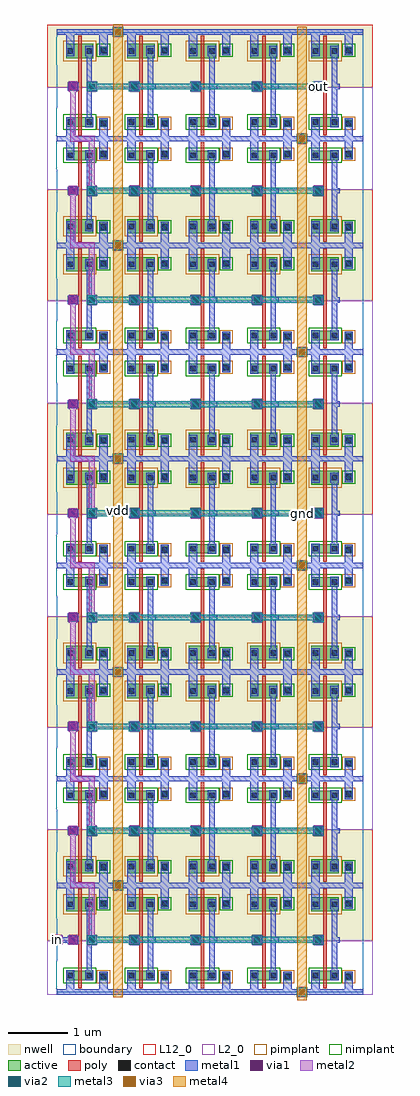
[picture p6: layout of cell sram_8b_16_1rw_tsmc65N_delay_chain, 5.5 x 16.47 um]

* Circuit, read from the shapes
.subckt sram_8b_16_1rw_tsmc65N_delay_chain gnd in out vdd
M1 sram_8b_16_1rw_tsmc65N_pinv_11_1/A in gnd gnd nfet w=0.16u l=0.06u
M2 sram_8b_16_1rw_tsmc65N_pinv_11_10/A sram_8b_16_1rw_tsmc65N_pinv_11_1/A gnd gnd nfet w=0.16u l=0.06u
M3 sram_8b_16_1rw_tsmc65N_pinv_11_11/A sram_8b_16_1rw_tsmc65N_pinv_11_10/A gnd gnd nfet w=0.16u l=0.06u
M4 sram_8b_16_1rw_tsmc65N_pinv_11_16/A sram_8b_16_1rw_tsmc65N_pinv_11_11/A gnd gnd nfet w=0.16u l=0.06u
M5 sram_8b_16_1rw_tsmc65N_pinv_11_21/A sram_8b_16_1rw_tsmc65N_pinv_11_16/A gnd gnd nfet w=0.16u l=0.06u
M6 sram_8b_16_1rw_tsmc65N_pinv_11_26/A sram_8b_16_1rw_tsmc65N_pinv_11_21/A gnd gnd nfet w=0.16u l=0.06u
M7 sram_8b_16_1rw_tsmc65N_pinv_11_31/A sram_8b_16_1rw_tsmc65N_pinv_11_26/A gnd gnd nfet w=0.16u l=0.06u
M8 sram_8b_16_1rw_tsmc65N_pinv_11_36/A sram_8b_16_1rw_tsmc65N_pinv_11_31/A gnd gnd nfet w=0.16u l=0.06u
M9 out sram_8b_16_1rw_tsmc65N_pinv_11_36/A gnd gnd nfet w=0.16u l=0.06u
M10 sram_8b_16_1rw_tsmc65N_pinv_11_1/Z sram_8b_16_1rw_tsmc65N_pinv_11_1/A gnd gnd nfet w=0.16u l=0.06u
M11 sram_8b_16_1rw_tsmc65N_pinv_11_6/Z sram_8b_16_1rw_tsmc65N_pinv_11_10/A gnd gnd nfet w=0.16u l=0.06u
M12 sram_8b_16_1rw_tsmc65N_pinv_11_11/Z sram_8b_16_1rw_tsmc65N_pinv_11_11/A gnd gnd nfet w=0.16u l=0.06u
M13 sram_8b_16_1rw_tsmc65N_pinv_11_16/Z sram_8b_16_1rw_tsmc65N_pinv_11_16/A gnd gnd nfet w=0.16u l=0.06u
M14 sram_8b_16_1rw_tsmc65N_pinv_11_21/Z sram_8b_16_1rw_tsmc65N_pinv_11_21/A gnd gnd nfet w=0.16u l=0.06u
M15 sram_8b_16_1rw_tsmc65N_pinv_11_26/Z sram_8b_16_1rw_tsmc65N_pinv_11_26/A gnd gnd nfet w=0.16u l=0.06u
M16 sram_8b_16_1rw_tsmc65N_pinv_11_31/Z sram_8b_16_1rw_tsmc65N_pinv_11_31/A gnd gnd nfet w=0.16u l=0.06u
M17 sram_8b_16_1rw_tsmc65N_pinv_11_36/Z sram_8b_16_1rw_tsmc65N_pinv_11_36/A gnd gnd nfet w=0.16u l=0.06u
M18 sram_8b_16_1rw_tsmc65N_pinv_11_41/Z out gnd gnd nfet w=0.16u l=0.06u
M19 sram_8b_16_1rw_tsmc65N_pinv_11_2/Z sram_8b_16_1rw_tsmc65N_pinv_11_1/A gnd gnd nfet w=0.16u l=0.06u
M20 sram_8b_16_1rw_tsmc65N_pinv_11_7/Z sram_8b_16_1rw_tsmc65N_pinv_11_10/A gnd gnd nfet w=0.16u l=0.06u
M21 sram_8b_16_1rw_tsmc65N_pinv_11_12/Z sram_8b_16_1rw_tsmc65N_pinv_11_11/A gnd gnd nfet w=0.16u l=0.06u
M22 sram_8b_16_1rw_tsmc65N_pinv_11_17/Z sram_8b_16_1rw_tsmc65N_pinv_11_16/A gnd gnd nfet w=0.16u l=0.06u
M23 sram_8b_16_1rw_tsmc65N_pinv_11_22/Z sram_8b_16_1rw_tsmc65N_pinv_11_21/A gnd gnd nfet w=0.16u l=0.06u
M24 sram_8b_16_1rw_tsmc65N_pinv_11_27/Z sram_8b_16_1rw_tsmc65N_pinv_11_26/A gnd gnd nfet w=0.16u l=0.06u
M25 sram_8b_16_1rw_tsmc65N_pinv_11_32/Z sram_8b_16_1rw_tsmc65N_pinv_11_31/A gnd gnd nfet w=0.16u l=0.06u
M26 sram_8b_16_1rw_tsmc65N_pinv_11_37/Z sram_8b_16_1rw_tsmc65N_pinv_11_36/A gnd gnd nfet w=0.16u l=0.06u
M27 sram_8b_16_1rw_tsmc65N_pinv_11_42/Z out gnd gnd nfet w=0.16u l=0.06u
M28 sram_8b_16_1rw_tsmc65N_pinv_11_3/Z sram_8b_16_1rw_tsmc65N_pinv_11_1/A gnd gnd nfet w=0.16u l=0.06u
M29 sram_8b_16_1rw_tsmc65N_pinv_11_8/Z sram_8b_16_1rw_tsmc65N_pinv_11_10/A gnd gnd nfet w=0.16u l=0.06u
M30 sram_8b_16_1rw_tsmc65N_pinv_11_13/Z sram_8b_16_1rw_tsmc65N_pinv_11_11/A gnd gnd nfet w=0.16u l=0.06u
M31 sram_8b_16_1rw_tsmc65N_pinv_11_18/Z sram_8b_16_1rw_tsmc65N_pinv_11_16/A gnd gnd nfet w=0.16u l=0.06u
M32 sram_8b_16_1rw_tsmc65N_pinv_11_23/Z sram_8b_16_1rw_tsmc65N_pinv_11_21/A gnd gnd nfet w=0.16u l=0.06u
M33 sram_8b_16_1rw_tsmc65N_pinv_11_28/Z sram_8b_16_1rw_tsmc65N_pinv_11_26/A gnd gnd nfet w=0.16u l=0.06u
M34 sram_8b_16_1rw_tsmc65N_pinv_11_33/Z sram_8b_16_1rw_tsmc65N_pinv_11_31/A gnd gnd nfet w=0.16u l=0.06u
M35 sram_8b_16_1rw_tsmc65N_pinv_11_38/Z sram_8b_16_1rw_tsmc65N_pinv_11_36/A gnd gnd nfet w=0.16u l=0.06u
M36 sram_8b_16_1rw_tsmc65N_pinv_11_43/Z out gnd gnd nfet w=0.16u l=0.06u
M37 sram_8b_16_1rw_tsmc65N_pinv_11_4/Z sram_8b_16_1rw_tsmc65N_pinv_11_1/A gnd gnd nfet w=0.16u l=0.06u
M38 sram_8b_16_1rw_tsmc65N_pinv_11_9/Z sram_8b_16_1rw_tsmc65N_pinv_11_10/A gnd gnd nfet w=0.16u l=0.06u
M39 sram_8b_16_1rw_tsmc65N_pinv_11_14/Z sram_8b_16_1rw_tsmc65N_pinv_11_11/A gnd gnd nfet w=0.16u l=0.06u
M40 sram_8b_16_1rw_tsmc65N_pinv_11_19/Z sram_8b_16_1rw_tsmc65N_pinv_11_16/A gnd gnd nfet w=0.16u l=0.06u
M41 sram_8b_16_1rw_tsmc65N_pinv_11_24/Z sram_8b_16_1rw_tsmc65N_pinv_11_21/A gnd gnd nfet w=0.16u l=0.06u
M42 sram_8b_16_1rw_tsmc65N_pinv_11_29/Z sram_8b_16_1rw_tsmc65N_pinv_11_26/A gnd gnd nfet w=0.16u l=0.06u
M43 sram_8b_16_1rw_tsmc65N_pinv_11_34/Z sram_8b_16_1rw_tsmc65N_pinv_11_31/A gnd gnd nfet w=0.16u l=0.06u
M44 sram_8b_16_1rw_tsmc65N_pinv_11_39/Z sram_8b_16_1rw_tsmc65N_pinv_11_36/A gnd gnd nfet w=0.16u l=0.06u
M45 sram_8b_16_1rw_tsmc65N_pinv_11_44/Z out gnd gnd nfet w=0.16u l=0.06u
M46 sram_8b_16_1rw_tsmc65N_pinv_11_1/A in vdd vdd pfet w=0.24u l=0.06u
M47 sram_8b_16_1rw_tsmc65N_pinv_11_10/A sram_8b_16_1rw_tsmc65N_pinv_11_1/A vdd vdd pfet w=0.24u l=0.06u
M48 sram_8b_16_1rw_tsmc65N_pinv_11_11/A sram_8b_16_1rw_tsmc65N_pinv_11_10/A vdd vdd pfet w=0.24u l=0.06u
M49 sram_8b_16_1rw_tsmc65N_pinv_11_16/A sram_8b_16_1rw_tsmc65N_pinv_11_11/A vdd vdd pfet w=0.24u l=0.06u
M50 sram_8b_16_1rw_tsmc65N_pinv_11_21/A sram_8b_16_1rw_tsmc65N_pinv_11_16/A vdd vdd pfet w=0.24u l=0.06u
M51 sram_8b_16_1rw_tsmc65N_pinv_11_26/A sram_8b_16_1rw_tsmc65N_pinv_11_21/A vdd vdd pfet w=0.24u l=0.06u
M52 sram_8b_16_1rw_tsmc65N_pinv_11_31/A sram_8b_16_1rw_tsmc65N_pinv_11_26/A vdd vdd pfet w=0.24u l=0.06u
M53 sram_8b_16_1rw_tsmc65N_pinv_11_36/A sram_8b_16_1rw_tsmc65N_pinv_11_31/A vdd vdd pfet w=0.24u l=0.06u
M54 out sram_8b_16_1rw_tsmc65N_pinv_11_36/A vdd vdd pfet w=0.24u l=0.06u
M55 sram_8b_16_1rw_tsmc65N_pinv_11_1/Z sram_8b_16_1rw_tsmc65N_pinv_11_1/A vdd vdd pfet w=0.24u l=0.06u
M56 sram_8b_16_1rw_tsmc65N_pinv_11_6/Z sram_8b_16_1rw_tsmc65N_pinv_11_10/A vdd vdd pfet w=0.24u l=0.06u
M57 sram_8b_16_1rw_tsmc65N_pinv_11_11/Z sram_8b_16_1rw_tsmc65N_pinv_11_11/A vdd vdd pfet w=0.24u l=0.06u
M58 sram_8b_16_1rw_tsmc65N_pinv_11_16/Z sram_8b_16_1rw_tsmc65N_pinv_11_16/A vdd vdd pfet w=0.24u l=0.06u
M59 sram_8b_16_1rw_tsmc65N_pinv_11_21/Z sram_8b_16_1rw_tsmc65N_pinv_11_21/A vdd vdd pfet w=0.24u l=0.06u
M60 sram_8b_16_1rw_tsmc65N_pinv_11_26/Z sram_8b_16_1rw_tsmc65N_pinv_11_26/A vdd vdd pfet w=0.24u l=0.06u
M61 sram_8b_16_1rw_tsmc65N_pinv_11_31/Z sram_8b_16_1rw_tsmc65N_pinv_11_31/A vdd vdd pfet w=0.24u l=0.06u
M62 sram_8b_16_1rw_tsmc65N_pinv_11_36/Z sram_8b_16_1rw_tsmc65N_pinv_11_36/A vdd vdd pfet w=0.24u l=0.06u
M63 sram_8b_16_1rw_tsmc65N_pinv_11_41/Z out vdd vdd pfet w=0.24u l=0.06u
M64 sram_8b_16_1rw_tsmc65N_pinv_11_2/Z sram_8b_16_1rw_tsmc65N_pinv_11_1/A vdd vdd pfet w=0.24u l=0.06u
M65 sram_8b_16_1rw_tsmc65N_pinv_11_7/Z sram_8b_16_1rw_tsmc65N_pinv_11_10/A vdd vdd pfet w=0.24u l=0.06u
M66 sram_8b_16_1rw_tsmc65N_pinv_11_12/Z sram_8b_16_1rw_tsmc65N_pinv_11_11/A vdd vdd pfet w=0.24u l=0.06u
M67 sram_8b_16_1rw_tsmc65N_pinv_11_17/Z sram_8b_16_1rw_tsmc65N_pinv_11_16/A vdd vdd pfet w=0.24u l=0.06u
M68 sram_8b_16_1rw_tsmc65N_pinv_11_22/Z sram_8b_16_1rw_tsmc65N_pinv_11_21/A vdd vdd pfet w=0.24u l=0.06u
M69 sram_8b_16_1rw_tsmc65N_pinv_11_27/Z sram_8b_16_1rw_tsmc65N_pinv_11_26/A vdd vdd pfet w=0.24u l=0.06u
M70 sram_8b_16_1rw_tsmc65N_pinv_11_32/Z sram_8b_16_1rw_tsmc65N_pinv_11_31/A vdd vdd pfet w=0.24u l=0.06u
M71 sram_8b_16_1rw_tsmc65N_pinv_11_37/Z sram_8b_16_1rw_tsmc65N_pinv_11_36/A vdd vdd pfet w=0.24u l=0.06u
M72 sram_8b_16_1rw_tsmc65N_pinv_11_42/Z out vdd vdd pfet w=0.24u l=0.06u
M73 sram_8b_16_1rw_tsmc65N_pinv_11_3/Z sram_8b_16_1rw_tsmc65N_pinv_11_1/A vdd vdd pfet w=0.24u l=0.06u
M74 sram_8b_16_1rw_tsmc65N_pinv_11_8/Z sram_8b_16_1rw_tsmc65N_pinv_11_10/A vdd vdd pfet w=0.24u l=0.06u
M75 sram_8b_16_1rw_tsmc65N_pinv_11_13/Z sram_8b_16_1rw_tsmc65N_pinv_11_11/A vdd vdd pfet w=0.24u l=0.06u
M76 sram_8b_16_1rw_tsmc65N_pinv_11_18/Z sram_8b_16_1rw_tsmc65N_pinv_11_16/A vdd vdd pfet w=0.24u l=0.06u
M77 sram_8b_16_1rw_tsmc65N_pinv_11_23/Z sram_8b_16_1rw_tsmc65N_pinv_11_21/A vdd vdd pfet w=0.24u l=0.06u
M78 sram_8b_16_1rw_tsmc65N_pinv_11_28/Z sram_8b_16_1rw_tsmc65N_pinv_11_26/A vdd vdd pfet w=0.24u l=0.06u
M79 sram_8b_16_1rw_tsmc65N_pinv_11_33/Z sram_8b_16_1rw_tsmc65N_pinv_11_31/A vdd vdd pfet w=0.24u l=0.06u
M80 sram_8b_16_1rw_tsmc65N_pinv_11_38/Z sram_8b_16_1rw_tsmc65N_pinv_11_36/A vdd vdd pfet w=0.24u l=0.06u
M81 sram_8b_16_1rw_tsmc65N_pinv_11_43/Z out vdd vdd pfet w=0.24u l=0.06u
M82 sram_8b_16_1rw_tsmc65N_pinv_11_4/Z sram_8b_16_1rw_tsmc65N_pinv_11_1/A vdd vdd pfet w=0.24u l=0.06u
M83 sram_8b_16_1rw_tsmc65N_pinv_11_9/Z sram_8b_16_1rw_tsmc65N_pinv_11_10/A vdd vdd pfet w=0.24u l=0.06u
M84 sram_8b_16_1rw_tsmc65N_pinv_11_14/Z sram_8b_16_1rw_tsmc65N_pinv_11_11/A vdd vdd pfet w=0.24u l=0.06u
M85 sram_8b_16_1rw_tsmc65N_pinv_11_19/Z sram_8b_16_1rw_tsmc65N_pinv_11_16/A vdd vdd pfet w=0.24u l=0.06u
M86 sram_8b_16_1rw_tsmc65N_pinv_11_24/Z sram_8b_16_1rw_tsmc65N_pinv_11_21/A vdd vdd pfet w=0.24u l=0.06u
M87 sram_8b_16_1rw_tsmc65N_pinv_11_29/Z sram_8b_16_1rw_tsmc65N_pinv_11_26/A vdd vdd pfet w=0.24u l=0.06u
M88 sram_8b_16_1rw_tsmc65N_pinv_11_34/Z sram_8b_16_1rw_tsmc65N_pinv_11_31/A vdd vdd pfet w=0.24u l=0.06u
M89 sram_8b_16_1rw_tsmc65N_pinv_11_39/Z sram_8b_16_1rw_tsmc65N_pinv_11_36/A vdd vdd pfet w=0.24u l=0.06u
M90 sram_8b_16_1rw_tsmc65N_pinv_11_44/Z out vdd vdd pfet w=0.24u l=0.06u
.ends

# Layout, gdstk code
import gdstk
lib = gdstk.Library(unit=1e-6, precision=1e-09)
def R(c, l, rs):  # rectangles x0, y0, x1, y1
    for r in rs: c.add(gdstk.rectangle(r[:2], r[2:], *l))
def A(c, l, x, y, w, h, nx, ny, dx, dy):  # array of equal rectangles
    R(c, l, [(x+i*dx, y+j*dy, x+i*dx+w, y+j*dy+h) for i in range(nx) for j in range(ny)])
L2_0 = (2, 0)
nwell = (3, 0)
active = (6, 0)
L12_0 = (12, 0)
poly = (17, 0)
pimplant = (25, 0)
nimplant = (26, 0)
contact = (30, 0)
metal1 = (31, 0)
metal2 = (32, 0)
metal3 = (33, 0)
metal4 = (34, 0)
via1 = (51, 0)
via2 = (52, 0)
via3 = (53, 0)
boundary = (108, 0)

sram_8b_16_1rw_tsmc65n_c = lib.new_cell('sram_8b_16_1rw_tsmc65N_contact_11')
R(sram_8b_16_1rw_tsmc65n_c, nwell, [(-0.165,-0.15,0.305,0.32)])
R(sram_8b_16_1rw_tsmc65n_c, active, [(0.01,0.025,0.13,0.145)])
R(sram_8b_16_1rw_tsmc65n_c, pimplant, [(-0.04,-0.025,0.18,0.195)])
R(sram_8b_16_1rw_tsmc65n_c, contact, [(0.025,0.04,0.115,0.13)])
R(sram_8b_16_1rw_tsmc65n_c, metal1, [(0,0,0.14,0.17)])
R(sram_8b_16_1rw_tsmc65n_c, boundary, [(-0.165,-0.15,0.305,0.32)])

sram_8b_16_1rw_tsmc65n_p = lib.new_cell('sram_8b_16_1rw_tsmc65N_pmos_m1_w0_240_sm1_dm1_da_p')
R(sram_8b_16_1rw_tsmc65n_p, nwell, [(-0.16,-0.16,0.62,0.4)])
R(sram_8b_16_1rw_tsmc65n_p, active, [(0,0,0.46,0.24)])
R(sram_8b_16_1rw_tsmc65n_p, L12_0, [(-0.16,-0.16,0.62,0.4)])
R(sram_8b_16_1rw_tsmc65n_p, poly, [(0.2,-0.14,0.26,0.38), (0.2,-0.14,0.26,0.38)])
R(sram_8b_16_1rw_tsmc65n_p, pimplant, [(-0.05,-0.05,0.51,0.29)])
R(sram_8b_16_1rw_tsmc65n_p, metal1, [(0,0.035,0.14,0.205), (0.32,0.035,0.46,0.205)])
R(sram_8b_16_1rw_tsmc65n_p, boundary, [(-0.16,-0.16,0.62,0.4)])
sram_8b_16_1rw_tsmc65n_p.add(gdstk.Reference(sram_8b_16_1rw_tsmc65n_c, (0,0.035)))
sram_8b_16_1rw_tsmc65n_p.add(gdstk.Reference(sram_8b_16_1rw_tsmc65n_c, (0.32,0.035)))
sram_8b_16_1rw_tsmc65n_p.add(gdstk.Label('G', (0.23,0.12), layer=17, texttype=0))
sram_8b_16_1rw_tsmc65n_p.add(gdstk.Label('S', (0.07,0.12), layer=31, texttype=0))
sram_8b_16_1rw_tsmc65n_p.add(gdstk.Label('D', (0.39,0.12), layer=31, texttype=0))

c_sram_8b_16_1rw_tsmc65n_c = lib.new_cell('sram_8b_16_1rw_tsmc65N_contact_10')
R(c_sram_8b_16_1rw_tsmc65n_c, L2_0, [(-0.165,-0.15,0.305,0.32)])
R(c_sram_8b_16_1rw_tsmc65n_c, active, [(0.01,0.025,0.13,0.145)])
R(c_sram_8b_16_1rw_tsmc65n_c, nimplant, [(-0.04,-0.025,0.18,0.195)])
R(c_sram_8b_16_1rw_tsmc65n_c, contact, [(0.025,0.04,0.115,0.13)])
R(c_sram_8b_16_1rw_tsmc65n_c, metal1, [(0,0,0.14,0.17)])
R(c_sram_8b_16_1rw_tsmc65n_c, boundary, [(-0.165,-0.15,0.305,0.32)])

sram_8b_16_1rw_tsmc65n_n = lib.new_cell('sram_8b_16_1rw_tsmc65N_nmos_m1_w0_160_sm1_dm1_da_p')
R(sram_8b_16_1rw_tsmc65n_n, L2_0, [(-0.16,-0.16,0.62,0.32)])
R(sram_8b_16_1rw_tsmc65n_n, active, [(0,0,0.46,0.16)])
R(sram_8b_16_1rw_tsmc65n_n, L12_0, [(-0.16,-0.16,0.62,0.32)])
R(sram_8b_16_1rw_tsmc65n_n, poly, [(0.2,-0.14,0.26,0.3), (0.2,-0.14,0.26,0.3)])
R(sram_8b_16_1rw_tsmc65n_n, nimplant, [(-0.05,-0.05,0.51,0.21)])
R(sram_8b_16_1rw_tsmc65n_n, metal1, [(0,-0.005,0.14,0.165), (0.32,-0.005,0.46,0.165)])
R(sram_8b_16_1rw_tsmc65n_n, boundary, [(-0.16,-0.16,0.62,0.32)])
sram_8b_16_1rw_tsmc65n_n.add(gdstk.Reference(c_sram_8b_16_1rw_tsmc65n_c, (0,-0.005)))
sram_8b_16_1rw_tsmc65n_n.add(gdstk.Reference(c_sram_8b_16_1rw_tsmc65n_c, (0.32,-0.005)))
sram_8b_16_1rw_tsmc65n_n.add(gdstk.Label('G', (0.23,0.08), layer=17, texttype=0))
sram_8b_16_1rw_tsmc65n_n.add(gdstk.Label('S', (0.07,0.08), layer=31, texttype=0))
sram_8b_16_1rw_tsmc65n_n.add(gdstk.Label('D', (0.39,0.08), layer=31, texttype=0))

c_sram_8b_16_1rw_tsmc65n_c_ = lib.new_cell('sram_8b_16_1rw_tsmc65N_contact_12')
R(c_sram_8b_16_1rw_tsmc65n_c_, nwell, [(-0.165,-0.15,0.305,0.32)])
R(c_sram_8b_16_1rw_tsmc65n_c_, active, [(0.01,0.025,0.13,0.145)])
R(c_sram_8b_16_1rw_tsmc65n_c_, nimplant, [(-0.04,-0.025,0.18,0.195)])
R(c_sram_8b_16_1rw_tsmc65n_c_, contact, [(0.025,0.04,0.115,0.13)])
R(c_sram_8b_16_1rw_tsmc65n_c_, metal1, [(0,0,0.14,0.17)])
R(c_sram_8b_16_1rw_tsmc65n_c_, boundary, [(-0.165,-0.15,0.305,0.32)])

c_sram_8b_16_1rw_tsmc65n_c__ = lib.new_cell('sram_8b_16_1rw_tsmc65N_contact_13')
R(c_sram_8b_16_1rw_tsmc65n_c__, L2_0, [(-0.165,-0.15,0.305,0.32)])
R(c_sram_8b_16_1rw_tsmc65n_c__, active, [(0.01,0.025,0.13,0.145)])
R(c_sram_8b_16_1rw_tsmc65n_c__, pimplant, [(-0.04,-0.025,0.18,0.195)])
R(c_sram_8b_16_1rw_tsmc65n_c__, contact, [(0.025,0.04,0.115,0.13)])
R(c_sram_8b_16_1rw_tsmc65n_c__, metal1, [(0,0,0.14,0.17)])
R(c_sram_8b_16_1rw_tsmc65n_c__, boundary, [(-0.165,-0.15,0.305,0.32)])

c_sram_8b_16_1rw_tsmc65n_c___ = lib.new_cell('sram_8b_16_1rw_tsmc65N_contact_14')
R(c_sram_8b_16_1rw_tsmc65n_c___, poly, [(0.03,0.015,0.14,0.125)])
R(c_sram_8b_16_1rw_tsmc65n_c___, contact, [(0.04,0.025,0.13,0.115)])
R(c_sram_8b_16_1rw_tsmc65n_c___, metal1, [(0,0,0.17,0.14)])
R(c_sram_8b_16_1rw_tsmc65n_c___, boundary, [(0,0,0.17,0.14)])

c_sram_8b_16_1rw_tsmc65n_p = lib.new_cell('sram_8b_16_1rw_tsmc65N_pinv_11')
R(c_sram_8b_16_1rw_tsmc65n_p, L2_0, [(-0.16,-0.045,1.195,0.865)])
R(c_sram_8b_16_1rw_tsmc65n_p, nwell, [(-0.16,0.865,1.195,1.92)])
R(c_sram_8b_16_1rw_tsmc65n_p, L12_0, [(-0.16,-0.045,1.195,0.865), (-0.16,0.865,1.195,1.92)])
R(c_sram_8b_16_1rw_tsmc65n_p, poly, [(0.36,0.5,0.42,1.22), (0.275,0.825,0.36,0.935)])
R(c_sram_8b_16_1rw_tsmc65n_p, metal1, [(0,-0.045,1.035,0.045), (0.16,-0.045,0.3,0.195), (0.72,0,0.86,0.26), (0.505,0.195,0.595,1.565), (0.19,0.81,0.36,0.95), (0.55,0.835,0.64,0.925), (0.16,1.395,0.3,1.845), (0.72,1.49,0.86,1.8), (0,1.755,1.035,1.845)])
R(c_sram_8b_16_1rw_tsmc65n_p, boundary, [(0,0,1.035,1.8), (0,0,1.035,1.8)])
c_sram_8b_16_1rw_tsmc65n_p.add(gdstk.Reference(sram_8b_16_1rw_tsmc65n_p, (0.16,1.36)))
c_sram_8b_16_1rw_tsmc65n_p.add(gdstk.Reference(sram_8b_16_1rw_tsmc65n_n, (0.16,0.2)))
c_sram_8b_16_1rw_tsmc65n_p.add(gdstk.Reference(c_sram_8b_16_1rw_tsmc65n_c_, (0.72,1.405)))
c_sram_8b_16_1rw_tsmc65n_p.add(gdstk.Reference(c_sram_8b_16_1rw_tsmc65n_c__, (0.72,0.175)))
c_sram_8b_16_1rw_tsmc65n_p.add(gdstk.Reference(c_sram_8b_16_1rw_tsmc65n_c___, (0.19,0.81)))
c_sram_8b_16_1rw_tsmc65n_p.add(gdstk.Label('A', (0.275,0.88), layer=31, texttype=0))
c_sram_8b_16_1rw_tsmc65n_p.add(gdstk.Label('Z', (0.595,0.88), layer=31, texttype=0))
c_sram_8b_16_1rw_tsmc65n_p.add(gdstk.Label('gnd', (0.518,0), layer=31, texttype=0))
c_sram_8b_16_1rw_tsmc65n_p.add(gdstk.Label('vdd', (0.518,1.8), layer=31, texttype=0))

c_sram_8b_16_1rw_tsmc65n_c____ = lib.new_cell('sram_8b_16_1rw_tsmc65N_contact_17')
R(c_sram_8b_16_1rw_tsmc65n_c____, metal1, [(0,0.015,0.17,0.155)])
R(c_sram_8b_16_1rw_tsmc65n_c____, metal2, [(0.01,0,0.16,0.17)])
R(c_sram_8b_16_1rw_tsmc65n_c____, via1, [(0.04,0.04,0.13,0.13)])
R(c_sram_8b_16_1rw_tsmc65n_c____, boundary, [(0,0,0.17,0.17)])

c_sram_8b_16_1rw_tsmc65n_c_____ = lib.new_cell('sram_8b_16_1rw_tsmc65N_contact_18')
R(c_sram_8b_16_1rw_tsmc65n_c_____, metal2, [(0.01,0,0.17,0.18)])
R(c_sram_8b_16_1rw_tsmc65n_c_____, metal3, [(0,0.01,0.18,0.17)])
R(c_sram_8b_16_1rw_tsmc65n_c_____, via2, [(0.04,0.04,0.14,0.14)])
R(c_sram_8b_16_1rw_tsmc65n_c_____, boundary, [(0,0,0.18,0.18)])

c_sram_8b_16_1rw_tsmc65n_c______ = lib.new_cell('sram_8b_16_1rw_tsmc65N_contact_21')
R(c_sram_8b_16_1rw_tsmc65n_c______, metal3, [(0,0.01,0.18,0.17)])
R(c_sram_8b_16_1rw_tsmc65n_c______, metal4, [(0.01,0,0.17,0.18)])
R(c_sram_8b_16_1rw_tsmc65n_c______, via3, [(0.04,0.04,0.14,0.14)])
R(c_sram_8b_16_1rw_tsmc65n_c______, boundary, [(0,0,0.18,0.18)])

sram_8b_16_1rw_tsmc65n_d = lib.new_cell('sram_8b_16_1rw_tsmc65N_delay_chain')
R(sram_8b_16_1rw_tsmc65n_d, metal1, [(0.015,0.835,0.275,0.925), (4.37,15.235,4.46,15.325), (4.37,15.235,4.46,15.325)])
A(sram_8b_16_1rw_tsmc65n_d, metal2, 1.23, 0.83, 0.16, 0.1, 4, 2, 1.035, 1.84)
A(sram_8b_16_1rw_tsmc65n_d, metal2, 0.545, 0.88, 0.1, 0.92, 1, 4, 0, 3.6)
A(sram_8b_16_1rw_tsmc65n_d, metal2, 0.225, 1.75, 0.1, 0.1, 1, 8, 0, 1.8)
A(sram_8b_16_1rw_tsmc65n_d, metal2, 0.275, 1.75, 0.32, 0.1, 1, 8, 0, 1.8)
A(sram_8b_16_1rw_tsmc65n_d, metal2, 0.545, 1.75, 0.1, 0.1, 1, 8, 0, 1.8)
A(sram_8b_16_1rw_tsmc65n_d, metal2, 0.225, 1.8, 0.1, 0.92, 1, 4, 0, 3.6)
A(sram_8b_16_1rw_tsmc65n_d, metal2, 0.545, 2.72, 0.1, 0.88, 1, 4, 0, 3.6)
A(sram_8b_16_1rw_tsmc65n_d, metal2, 0.225, 3.6, 0.1, 0.88, 1, 4, 0, 3.6)
A(sram_8b_16_1rw_tsmc65n_d, metal2, 1.23, 4.43, 0.16, 0.1, 4, 2, 1.035, 1.84)
A(sram_8b_16_1rw_tsmc65n_d, metal2, 1.23, 8.03, 0.16, 0.1, 4, 2, 1.035, 1.84)
A(sram_8b_16_1rw_tsmc65n_d, metal2, 1.23, 11.63, 0.16, 0.1, 4, 2, 1.035, 1.84)
A(sram_8b_16_1rw_tsmc65n_d, metal2, 1.23, 15.23, 0.16, 0.1, 4, 1, 1.035, 0)
R(sram_8b_16_1rw_tsmc65n_d, metal2, [(4.06,-0.05,4.22,0.05), (-0.035,0.83,0.065,0.93), (0.515,0.83,0.675,0.93), (0.955,1.75,1.115,1.85), (0.955,1.75,1.115,1.85), (0.515,2.67,0.675,2.77), (4.06,3.55,4.22,3.65), (4.06,3.55,4.22,3.65), (0.515,4.43,0.675,4.53), (0.955,5.35,1.115,5.45), (0.955,5.35,1.115,5.45), (0.515,6.27,0.675,6.37), (4.06,7.15,4.22,7.25), (4.06,7.15,4.22,7.25), (0.515,8.03,0.675,8.13), (0.955,8.95,1.115,9.05), (0.955,8.95,1.115,9.05), (0.515,9.87,0.675,9.97), (4.06,10.75,4.22,10.85), (4.06,10.75,4.22,10.85), (0.515,11.63,0.675,11.73), (0.955,12.55,1.115,12.65), (0.955,12.55,1.115,12.65), (0.515,13.47,0.675,13.57), (4.06,14.35,4.22,14.45), (4.06,14.35,4.22,14.45), (0.515,15.23,0.675,15.33), (0.955,16.15,1.115,16.25)])
R(sram_8b_16_1rw_tsmc65n_d, metal3, [(4.09,-0.08,4.19,0.08), (0.595,0.83,4.415,0.93), (0.985,1.72,1.085,1.88), (0.985,1.72,1.085,1.88), (0.595,2.67,4.415,2.77), (4.09,3.52,4.19,3.68), (4.09,3.52,4.19,3.68), (0.595,4.43,4.415,4.53), (0.985,5.32,1.085,5.48), (0.985,5.32,1.085,5.48), (0.595,6.27,4.415,6.37), (4.09,7.12,4.19,7.28), (4.09,7.12,4.19,7.28), (0.595,8.03,4.415,8.13), (0.985,8.92,1.085,9.08), (0.985,8.92,1.085,9.08), (0.595,9.87,4.415,9.97), (4.09,10.72,4.19,10.88), (4.09,10.72,4.19,10.88), (0.595,11.63,4.415,11.73), (0.985,12.52,1.085,12.68), (0.985,12.52,1.085,12.68), (0.595,13.47,4.415,13.57), (4.09,14.32,4.19,14.48), (4.09,14.32,4.19,14.48), (0.595,15.23,4.415,15.33), (0.985,16.12,1.085,16.28)])
R(sram_8b_16_1rw_tsmc65n_d, metal4, [(4.06,-0.135,4.22,16.29), (0.955,-0.09,1.115,16.335)])
R(sram_8b_16_1rw_tsmc65n_d, boundary, [(0,0,5.175,16.2)])
sram_8b_16_1rw_tsmc65n_d.add(gdstk.Reference(c_sram_8b_16_1rw_tsmc65n_p, (0,0)))
sram_8b_16_1rw_tsmc65n_d.add(gdstk.Reference(c_sram_8b_16_1rw_tsmc65n_p, (1.035,0)))
sram_8b_16_1rw_tsmc65n_d.add(gdstk.Reference(c_sram_8b_16_1rw_tsmc65n_p, (2.07,0)))
sram_8b_16_1rw_tsmc65n_d.add(gdstk.Reference(c_sram_8b_16_1rw_tsmc65n_p, (3.105,0)))
sram_8b_16_1rw_tsmc65n_d.add(gdstk.Reference(c_sram_8b_16_1rw_tsmc65n_p, (4.14,0)))
sram_8b_16_1rw_tsmc65n_d.add(gdstk.Reference(c_sram_8b_16_1rw_tsmc65n_p, (0,3.6), x_reflection=True))
sram_8b_16_1rw_tsmc65n_d.add(gdstk.Reference(c_sram_8b_16_1rw_tsmc65n_p, (1.035,3.6), x_reflection=True))
sram_8b_16_1rw_tsmc65n_d.add(gdstk.Reference(c_sram_8b_16_1rw_tsmc65n_p, (2.07,3.6), x_reflection=True))
sram_8b_16_1rw_tsmc65n_d.add(gdstk.Reference(c_sram_8b_16_1rw_tsmc65n_p, (3.105,3.6), x_reflection=True))
sram_8b_16_1rw_tsmc65n_d.add(gdstk.Reference(c_sram_8b_16_1rw_tsmc65n_p, (4.14,3.6), x_reflection=True))
sram_8b_16_1rw_tsmc65n_d.add(gdstk.Reference(c_sram_8b_16_1rw_tsmc65n_p, (0,3.6)))
sram_8b_16_1rw_tsmc65n_d.add(gdstk.Reference(c_sram_8b_16_1rw_tsmc65n_p, (1.035,3.6)))
sram_8b_16_1rw_tsmc65n_d.add(gdstk.Reference(c_sram_8b_16_1rw_tsmc65n_p, (2.07,3.6)))
sram_8b_16_1rw_tsmc65n_d.add(gdstk.Reference(c_sram_8b_16_1rw_tsmc65n_p, (3.105,3.6)))
sram_8b_16_1rw_tsmc65n_d.add(gdstk.Reference(c_sram_8b_16_1rw_tsmc65n_p, (4.14,3.6)))
sram_8b_16_1rw_tsmc65n_d.add(gdstk.Reference(c_sram_8b_16_1rw_tsmc65n_p, (0,7.2), x_reflection=True))
sram_8b_16_1rw_tsmc65n_d.add(gdstk.Reference(c_sram_8b_16_1rw_tsmc65n_p, (1.035,7.2), x_reflection=True))
sram_8b_16_1rw_tsmc65n_d.add(gdstk.Reference(c_sram_8b_16_1rw_tsmc65n_p, (2.07,7.2), x_reflection=True))
sram_8b_16_1rw_tsmc65n_d.add(gdstk.Reference(c_sram_8b_16_1rw_tsmc65n_p, (3.105,7.2), x_reflection=True))
sram_8b_16_1rw_tsmc65n_d.add(gdstk.Reference(c_sram_8b_16_1rw_tsmc65n_p, (4.14,7.2), x_reflection=True))
sram_8b_16_1rw_tsmc65n_d.add(gdstk.Reference(c_sram_8b_16_1rw_tsmc65n_p, (0,7.2)))
sram_8b_16_1rw_tsmc65n_d.add(gdstk.Reference(c_sram_8b_16_1rw_tsmc65n_p, (1.035,7.2)))
sram_8b_16_1rw_tsmc65n_d.add(gdstk.Reference(c_sram_8b_16_1rw_tsmc65n_p, (2.07,7.2)))
sram_8b_16_1rw_tsmc65n_d.add(gdstk.Reference(c_sram_8b_16_1rw_tsmc65n_p, (3.105,7.2)))
sram_8b_16_1rw_tsmc65n_d.add(gdstk.Reference(c_sram_8b_16_1rw_tsmc65n_p, (4.14,7.2)))
sram_8b_16_1rw_tsmc65n_d.add(gdstk.Reference(c_sram_8b_16_1rw_tsmc65n_p, (0,10.8), x_reflection=True))
sram_8b_16_1rw_tsmc65n_d.add(gdstk.Reference(c_sram_8b_16_1rw_tsmc65n_p, (1.035,10.8), x_reflection=True))
sram_8b_16_1rw_tsmc65n_d.add(gdstk.Reference(c_sram_8b_16_1rw_tsmc65n_p, (2.07,10.8), x_reflection=True))
sram_8b_16_1rw_tsmc65n_d.add(gdstk.Reference(c_sram_8b_16_1rw_tsmc65n_p, (3.105,10.8), x_reflection=True))
sram_8b_16_1rw_tsmc65n_d.add(gdstk.Reference(c_sram_8b_16_1rw_tsmc65n_p, (4.14,10.8), x_reflection=True))
sram_8b_16_1rw_tsmc65n_d.add(gdstk.Reference(c_sram_8b_16_1rw_tsmc65n_p, (0,10.8)))
sram_8b_16_1rw_tsmc65n_d.add(gdstk.Reference(c_sram_8b_16_1rw_tsmc65n_p, (1.035,10.8)))
sram_8b_16_1rw_tsmc65n_d.add(gdstk.Reference(c_sram_8b_16_1rw_tsmc65n_p, (2.07,10.8)))
sram_8b_16_1rw_tsmc65n_d.add(gdstk.Reference(c_sram_8b_16_1rw_tsmc65n_p, (3.105,10.8)))
sram_8b_16_1rw_tsmc65n_d.add(gdstk.Reference(c_sram_8b_16_1rw_tsmc65n_p, (4.14,10.8)))
sram_8b_16_1rw_tsmc65n_d.add(gdstk.Reference(c_sram_8b_16_1rw_tsmc65n_p, (0,14.4), x_reflection=True))
sram_8b_16_1rw_tsmc65n_d.add(gdstk.Reference(c_sram_8b_16_1rw_tsmc65n_p, (1.035,14.4), x_reflection=True))
sram_8b_16_1rw_tsmc65n_d.add(gdstk.Reference(c_sram_8b_16_1rw_tsmc65n_p, (2.07,14.4), x_reflection=True))
sram_8b_16_1rw_tsmc65n_d.add(gdstk.Reference(c_sram_8b_16_1rw_tsmc65n_p, (3.105,14.4), x_reflection=True))
sram_8b_16_1rw_tsmc65n_d.add(gdstk.Reference(c_sram_8b_16_1rw_tsmc65n_p, (4.14,14.4), x_reflection=True))
sram_8b_16_1rw_tsmc65n_d.add(gdstk.Reference(c_sram_8b_16_1rw_tsmc65n_p, (0,14.4)))
sram_8b_16_1rw_tsmc65n_d.add(gdstk.Reference(c_sram_8b_16_1rw_tsmc65n_p, (1.035,14.4)))
sram_8b_16_1rw_tsmc65n_d.add(gdstk.Reference(c_sram_8b_16_1rw_tsmc65n_p, (2.07,14.4)))
sram_8b_16_1rw_tsmc65n_d.add(gdstk.Reference(c_sram_8b_16_1rw_tsmc65n_p, (3.105,14.4)))
sram_8b_16_1rw_tsmc65n_d.add(gdstk.Reference(c_sram_8b_16_1rw_tsmc65n_p, (4.14,14.4)))
sram_8b_16_1rw_tsmc65n_d.add(gdstk.Reference(c_sram_8b_16_1rw_tsmc65n_c____, (1.225,0.795)))
sram_8b_16_1rw_tsmc65n_d.add(gdstk.Reference(c_sram_8b_16_1rw_tsmc65n_c_____, (1.22,0.79)))
sram_8b_16_1rw_tsmc65n_d.add(gdstk.Reference(c_sram_8b_16_1rw_tsmc65n_c____, (2.26,0.795)))
sram_8b_16_1rw_tsmc65n_d.add(gdstk.Reference(c_sram_8b_16_1rw_tsmc65n_c_____, (2.255,0.79)))
sram_8b_16_1rw_tsmc65n_d.add(gdstk.Reference(c_sram_8b_16_1rw_tsmc65n_c____, (3.295,0.795)))
sram_8b_16_1rw_tsmc65n_d.add(gdstk.Reference(c_sram_8b_16_1rw_tsmc65n_c_____, (3.29,0.79)))
sram_8b_16_1rw_tsmc65n_d.add(gdstk.Reference(c_sram_8b_16_1rw_tsmc65n_c____, (4.33,0.795)))
sram_8b_16_1rw_tsmc65n_d.add(gdstk.Reference(c_sram_8b_16_1rw_tsmc65n_c_____, (4.325,0.79)))
sram_8b_16_1rw_tsmc65n_d.add(gdstk.Reference(c_sram_8b_16_1rw_tsmc65n_c____, (0.19,0.795)))
sram_8b_16_1rw_tsmc65n_d.add(gdstk.Reference(c_sram_8b_16_1rw_tsmc65n_c____, (0.51,0.795)))
sram_8b_16_1rw_tsmc65n_d.add(gdstk.Reference(c_sram_8b_16_1rw_tsmc65n_c_____, (0.505,0.79)))
sram_8b_16_1rw_tsmc65n_d.add(gdstk.Reference(c_sram_8b_16_1rw_tsmc65n_c____, (1.225,2.635)))
sram_8b_16_1rw_tsmc65n_d.add(gdstk.Reference(c_sram_8b_16_1rw_tsmc65n_c_____, (1.22,2.63)))
sram_8b_16_1rw_tsmc65n_d.add(gdstk.Reference(c_sram_8b_16_1rw_tsmc65n_c____, (2.26,2.635)))
sram_8b_16_1rw_tsmc65n_d.add(gdstk.Reference(c_sram_8b_16_1rw_tsmc65n_c_____, (2.255,2.63)))
sram_8b_16_1rw_tsmc65n_d.add(gdstk.Reference(c_sram_8b_16_1rw_tsmc65n_c____, (3.295,2.635)))
sram_8b_16_1rw_tsmc65n_d.add(gdstk.Reference(c_sram_8b_16_1rw_tsmc65n_c_____, (3.29,2.63)))
sram_8b_16_1rw_tsmc65n_d.add(gdstk.Reference(c_sram_8b_16_1rw_tsmc65n_c____, (4.33,2.635)))
sram_8b_16_1rw_tsmc65n_d.add(gdstk.Reference(c_sram_8b_16_1rw_tsmc65n_c_____, (4.325,2.63)))
sram_8b_16_1rw_tsmc65n_d.add(gdstk.Reference(c_sram_8b_16_1rw_tsmc65n_c____, (0.19,2.635)))
sram_8b_16_1rw_tsmc65n_d.add(gdstk.Reference(c_sram_8b_16_1rw_tsmc65n_c____, (0.51,2.635)))
sram_8b_16_1rw_tsmc65n_d.add(gdstk.Reference(c_sram_8b_16_1rw_tsmc65n_c_____, (0.505,2.63)))
sram_8b_16_1rw_tsmc65n_d.add(gdstk.Reference(c_sram_8b_16_1rw_tsmc65n_c____, (1.225,4.395)))
sram_8b_16_1rw_tsmc65n_d.add(gdstk.Reference(c_sram_8b_16_1rw_tsmc65n_c_____, (1.22,4.39)))
sram_8b_16_1rw_tsmc65n_d.add(gdstk.Reference(c_sram_8b_16_1rw_tsmc65n_c____, (2.26,4.395)))
sram_8b_16_1rw_tsmc65n_d.add(gdstk.Reference(c_sram_8b_16_1rw_tsmc65n_c_____, (2.255,4.39)))
sram_8b_16_1rw_tsmc65n_d.add(gdstk.Reference(c_sram_8b_16_1rw_tsmc65n_c____, (3.295,4.395)))
sram_8b_16_1rw_tsmc65n_d.add(gdstk.Reference(c_sram_8b_16_1rw_tsmc65n_c_____, (3.29,4.39)))
sram_8b_16_1rw_tsmc65n_d.add(gdstk.Reference(c_sram_8b_16_1rw_tsmc65n_c____, (4.33,4.395)))
sram_8b_16_1rw_tsmc65n_d.add(gdstk.Reference(c_sram_8b_16_1rw_tsmc65n_c_____, (4.325,4.39)))
sram_8b_16_1rw_tsmc65n_d.add(gdstk.Reference(c_sram_8b_16_1rw_tsmc65n_c____, (0.19,4.395)))
sram_8b_16_1rw_tsmc65n_d.add(gdstk.Reference(c_sram_8b_16_1rw_tsmc65n_c____, (0.51,4.395)))
sram_8b_16_1rw_tsmc65n_d.add(gdstk.Reference(c_sram_8b_16_1rw_tsmc65n_c_____, (0.505,4.39)))
sram_8b_16_1rw_tsmc65n_d.add(gdstk.Reference(c_sram_8b_16_1rw_tsmc65n_c____, (1.225,6.235)))
sram_8b_16_1rw_tsmc65n_d.add(gdstk.Reference(c_sram_8b_16_1rw_tsmc65n_c_____, (1.22,6.23)))
sram_8b_16_1rw_tsmc65n_d.add(gdstk.Reference(c_sram_8b_16_1rw_tsmc65n_c____, (2.26,6.235)))
sram_8b_16_1rw_tsmc65n_d.add(gdstk.Reference(c_sram_8b_16_1rw_tsmc65n_c_____, (2.255,6.23)))
sram_8b_16_1rw_tsmc65n_d.add(gdstk.Reference(c_sram_8b_16_1rw_tsmc65n_c____, (3.295,6.235)))
sram_8b_16_1rw_tsmc65n_d.add(gdstk.Reference(c_sram_8b_16_1rw_tsmc65n_c_____, (3.29,6.23)))
sram_8b_16_1rw_tsmc65n_d.add(gdstk.Reference(c_sram_8b_16_1rw_tsmc65n_c____, (4.33,6.235)))
sram_8b_16_1rw_tsmc65n_d.add(gdstk.Reference(c_sram_8b_16_1rw_tsmc65n_c_____, (4.325,6.23)))
sram_8b_16_1rw_tsmc65n_d.add(gdstk.Reference(c_sram_8b_16_1rw_tsmc65n_c____, (0.19,6.235)))
sram_8b_16_1rw_tsmc65n_d.add(gdstk.Reference(c_sram_8b_16_1rw_tsmc65n_c____, (0.51,6.235)))
sram_8b_16_1rw_tsmc65n_d.add(gdstk.Reference(c_sram_8b_16_1rw_tsmc65n_c_____, (0.505,6.23)))
sram_8b_16_1rw_tsmc65n_d.add(gdstk.Reference(c_sram_8b_16_1rw_tsmc65n_c____, (1.225,7.995)))
sram_8b_16_1rw_tsmc65n_d.add(gdstk.Reference(c_sram_8b_16_1rw_tsmc65n_c_____, (1.22,7.99)))
sram_8b_16_1rw_tsmc65n_d.add(gdstk.Reference(c_sram_8b_16_1rw_tsmc65n_c____, (2.26,7.995)))
sram_8b_16_1rw_tsmc65n_d.add(gdstk.Reference(c_sram_8b_16_1rw_tsmc65n_c_____, (2.255,7.99)))
sram_8b_16_1rw_tsmc65n_d.add(gdstk.Reference(c_sram_8b_16_1rw_tsmc65n_c____, (3.295,7.995)))
sram_8b_16_1rw_tsmc65n_d.add(gdstk.Reference(c_sram_8b_16_1rw_tsmc65n_c_____, (3.29,7.99)))
sram_8b_16_1rw_tsmc65n_d.add(gdstk.Reference(c_sram_8b_16_1rw_tsmc65n_c____, (4.33,7.995)))
sram_8b_16_1rw_tsmc65n_d.add(gdstk.Reference(c_sram_8b_16_1rw_tsmc65n_c_____, (4.325,7.99)))
sram_8b_16_1rw_tsmc65n_d.add(gdstk.Reference(c_sram_8b_16_1rw_tsmc65n_c____, (0.19,7.995)))
sram_8b_16_1rw_tsmc65n_d.add(gdstk.Reference(c_sram_8b_16_1rw_tsmc65n_c____, (0.51,7.995)))
sram_8b_16_1rw_tsmc65n_d.add(gdstk.Reference(c_sram_8b_16_1rw_tsmc65n_c_____, (0.505,7.99)))
sram_8b_16_1rw_tsmc65n_d.add(gdstk.Reference(c_sram_8b_16_1rw_tsmc65n_c____, (1.225,9.835)))
sram_8b_16_1rw_tsmc65n_d.add(gdstk.Reference(c_sram_8b_16_1rw_tsmc65n_c_____, (1.22,9.83)))
sram_8b_16_1rw_tsmc65n_d.add(gdstk.Reference(c_sram_8b_16_1rw_tsmc65n_c____, (2.26,9.835)))
sram_8b_16_1rw_tsmc65n_d.add(gdstk.Reference(c_sram_8b_16_1rw_tsmc65n_c_____, (2.255,9.83)))
sram_8b_16_1rw_tsmc65n_d.add(gdstk.Reference(c_sram_8b_16_1rw_tsmc65n_c____, (3.295,9.835)))
sram_8b_16_1rw_tsmc65n_d.add(gdstk.Reference(c_sram_8b_16_1rw_tsmc65n_c_____, (3.29,9.83)))
sram_8b_16_1rw_tsmc65n_d.add(gdstk.Reference(c_sram_8b_16_1rw_tsmc65n_c____, (4.33,9.835)))
sram_8b_16_1rw_tsmc65n_d.add(gdstk.Reference(c_sram_8b_16_1rw_tsmc65n_c_____, (4.325,9.83)))
sram_8b_16_1rw_tsmc65n_d.add(gdstk.Reference(c_sram_8b_16_1rw_tsmc65n_c____, (0.19,9.835)))
sram_8b_16_1rw_tsmc65n_d.add(gdstk.Reference(c_sram_8b_16_1rw_tsmc65n_c____, (0.51,9.835)))
sram_8b_16_1rw_tsmc65n_d.add(gdstk.Reference(c_sram_8b_16_1rw_tsmc65n_c_____, (0.505,9.83)))
sram_8b_16_1rw_tsmc65n_d.add(gdstk.Reference(c_sram_8b_16_1rw_tsmc65n_c____, (1.225,11.595)))
sram_8b_16_1rw_tsmc65n_d.add(gdstk.Reference(c_sram_8b_16_1rw_tsmc65n_c_____, (1.22,11.59)))
sram_8b_16_1rw_tsmc65n_d.add(gdstk.Reference(c_sram_8b_16_1rw_tsmc65n_c____, (2.26,11.595)))
sram_8b_16_1rw_tsmc65n_d.add(gdstk.Reference(c_sram_8b_16_1rw_tsmc65n_c_____, (2.255,11.59)))
sram_8b_16_1rw_tsmc65n_d.add(gdstk.Reference(c_sram_8b_16_1rw_tsmc65n_c____, (3.295,11.595)))
sram_8b_16_1rw_tsmc65n_d.add(gdstk.Reference(c_sram_8b_16_1rw_tsmc65n_c_____, (3.29,11.59)))
sram_8b_16_1rw_tsmc65n_d.add(gdstk.Reference(c_sram_8b_16_1rw_tsmc65n_c____, (4.33,11.595)))
sram_8b_16_1rw_tsmc65n_d.add(gdstk.Reference(c_sram_8b_16_1rw_tsmc65n_c_____, (4.325,11.59)))
sram_8b_16_1rw_tsmc65n_d.add(gdstk.Reference(c_sram_8b_16_1rw_tsmc65n_c____, (0.19,11.595)))
sram_8b_16_1rw_tsmc65n_d.add(gdstk.Reference(c_sram_8b_16_1rw_tsmc65n_c____, (0.51,11.595)))
sram_8b_16_1rw_tsmc65n_d.add(gdstk.Reference(c_sram_8b_16_1rw_tsmc65n_c_____, (0.505,11.59)))
sram_8b_16_1rw_tsmc65n_d.add(gdstk.Reference(c_sram_8b_16_1rw_tsmc65n_c____, (1.225,13.435)))
sram_8b_16_1rw_tsmc65n_d.add(gdstk.Reference(c_sram_8b_16_1rw_tsmc65n_c_____, (1.22,13.43)))
sram_8b_16_1rw_tsmc65n_d.add(gdstk.Reference(c_sram_8b_16_1rw_tsmc65n_c____, (2.26,13.435)))
sram_8b_16_1rw_tsmc65n_d.add(gdstk.Reference(c_sram_8b_16_1rw_tsmc65n_c_____, (2.255,13.43)))
sram_8b_16_1rw_tsmc65n_d.add(gdstk.Reference(c_sram_8b_16_1rw_tsmc65n_c____, (3.295,13.435)))
sram_8b_16_1rw_tsmc65n_d.add(gdstk.Reference(c_sram_8b_16_1rw_tsmc65n_c_____, (3.29,13.43)))
sram_8b_16_1rw_tsmc65n_d.add(gdstk.Reference(c_sram_8b_16_1rw_tsmc65n_c____, (4.33,13.435)))
sram_8b_16_1rw_tsmc65n_d.add(gdstk.Reference(c_sram_8b_16_1rw_tsmc65n_c_____, (4.325,13.43)))
sram_8b_16_1rw_tsmc65n_d.add(gdstk.Reference(c_sram_8b_16_1rw_tsmc65n_c____, (0.19,13.435)))
sram_8b_16_1rw_tsmc65n_d.add(gdstk.Reference(c_sram_8b_16_1rw_tsmc65n_c____, (0.51,13.435)))
sram_8b_16_1rw_tsmc65n_d.add(gdstk.Reference(c_sram_8b_16_1rw_tsmc65n_c_____, (0.505,13.43)))
sram_8b_16_1rw_tsmc65n_d.add(gdstk.Reference(c_sram_8b_16_1rw_tsmc65n_c____, (1.225,15.195)))
sram_8b_16_1rw_tsmc65n_d.add(gdstk.Reference(c_sram_8b_16_1rw_tsmc65n_c_____, (1.22,15.19)))
sram_8b_16_1rw_tsmc65n_d.add(gdstk.Reference(c_sram_8b_16_1rw_tsmc65n_c____, (2.26,15.195)))
sram_8b_16_1rw_tsmc65n_d.add(gdstk.Reference(c_sram_8b_16_1rw_tsmc65n_c_____, (2.255,15.19)))
sram_8b_16_1rw_tsmc65n_d.add(gdstk.Reference(c_sram_8b_16_1rw_tsmc65n_c____, (3.295,15.195)))
sram_8b_16_1rw_tsmc65n_d.add(gdstk.Reference(c_sram_8b_16_1rw_tsmc65n_c_____, (3.29,15.19)))
sram_8b_16_1rw_tsmc65n_d.add(gdstk.Reference(c_sram_8b_16_1rw_tsmc65n_c____, (4.33,15.195)))
sram_8b_16_1rw_tsmc65n_d.add(gdstk.Reference(c_sram_8b_16_1rw_tsmc65n_c_____, (4.325,15.19)))
sram_8b_16_1rw_tsmc65n_d.add(gdstk.Reference(c_sram_8b_16_1rw_tsmc65n_c____, (0.19,15.195)))
sram_8b_16_1rw_tsmc65n_d.add(gdstk.Reference(c_sram_8b_16_1rw_tsmc65n_c____, (0.51,15.195)))
sram_8b_16_1rw_tsmc65n_d.add(gdstk.Reference(c_sram_8b_16_1rw_tsmc65n_c_____, (0.505,15.19)))
sram_8b_16_1rw_tsmc65n_d.add(gdstk.Reference(c_sram_8b_16_1rw_tsmc65n_c____, (0.95,1.715)))
sram_8b_16_1rw_tsmc65n_d.add(gdstk.Reference(c_sram_8b_16_1rw_tsmc65n_c_____, (0.945,1.71)))
sram_8b_16_1rw_tsmc65n_d.add(gdstk.Reference(c_sram_8b_16_1rw_tsmc65n_c______, (0.945,1.71)))
sram_8b_16_1rw_tsmc65n_d.add(gdstk.Reference(c_sram_8b_16_1rw_tsmc65n_c____, (0.95,1.715)))
sram_8b_16_1rw_tsmc65n_d.add(gdstk.Reference(c_sram_8b_16_1rw_tsmc65n_c_____, (0.945,1.71)))
sram_8b_16_1rw_tsmc65n_d.add(gdstk.Reference(c_sram_8b_16_1rw_tsmc65n_c______, (0.945,1.71)))
sram_8b_16_1rw_tsmc65n_d.add(gdstk.Reference(c_sram_8b_16_1rw_tsmc65n_c____, (0.95,5.315)))
sram_8b_16_1rw_tsmc65n_d.add(gdstk.Reference(c_sram_8b_16_1rw_tsmc65n_c_____, (0.945,5.31)))
sram_8b_16_1rw_tsmc65n_d.add(gdstk.Reference(c_sram_8b_16_1rw_tsmc65n_c______, (0.945,5.31)))
sram_8b_16_1rw_tsmc65n_d.add(gdstk.Reference(c_sram_8b_16_1rw_tsmc65n_c____, (0.95,5.315)))
sram_8b_16_1rw_tsmc65n_d.add(gdstk.Reference(c_sram_8b_16_1rw_tsmc65n_c_____, (0.945,5.31)))
sram_8b_16_1rw_tsmc65n_d.add(gdstk.Reference(c_sram_8b_16_1rw_tsmc65n_c______, (0.945,5.31)))
sram_8b_16_1rw_tsmc65n_d.add(gdstk.Reference(c_sram_8b_16_1rw_tsmc65n_c____, (0.95,8.915)))
sram_8b_16_1rw_tsmc65n_d.add(gdstk.Reference(c_sram_8b_16_1rw_tsmc65n_c_____, (0.945,8.91)))
sram_8b_16_1rw_tsmc65n_d.add(gdstk.Reference(c_sram_8b_16_1rw_tsmc65n_c______, (0.945,8.91)))
sram_8b_16_1rw_tsmc65n_d.add(gdstk.Reference(c_sram_8b_16_1rw_tsmc65n_c____, (0.95,8.915)))
sram_8b_16_1rw_tsmc65n_d.add(gdstk.Reference(c_sram_8b_16_1rw_tsmc65n_c_____, (0.945,8.91)))
sram_8b_16_1rw_tsmc65n_d.add(gdstk.Reference(c_sram_8b_16_1rw_tsmc65n_c______, (0.945,8.91)))
sram_8b_16_1rw_tsmc65n_d.add(gdstk.Reference(c_sram_8b_16_1rw_tsmc65n_c____, (0.95,12.515)))
sram_8b_16_1rw_tsmc65n_d.add(gdstk.Reference(c_sram_8b_16_1rw_tsmc65n_c_____, (0.945,12.51)))
sram_8b_16_1rw_tsmc65n_d.add(gdstk.Reference(c_sram_8b_16_1rw_tsmc65n_c______, (0.945,12.51)))
sram_8b_16_1rw_tsmc65n_d.add(gdstk.Reference(c_sram_8b_16_1rw_tsmc65n_c____, (0.95,12.515)))
sram_8b_16_1rw_tsmc65n_d.add(gdstk.Reference(c_sram_8b_16_1rw_tsmc65n_c_____, (0.945,12.51)))
sram_8b_16_1rw_tsmc65n_d.add(gdstk.Reference(c_sram_8b_16_1rw_tsmc65n_c______, (0.945,12.51)))
sram_8b_16_1rw_tsmc65n_d.add(gdstk.Reference(c_sram_8b_16_1rw_tsmc65n_c____, (0.95,16.115)))
sram_8b_16_1rw_tsmc65n_d.add(gdstk.Reference(c_sram_8b_16_1rw_tsmc65n_c_____, (0.945,16.11)))
sram_8b_16_1rw_tsmc65n_d.add(gdstk.Reference(c_sram_8b_16_1rw_tsmc65n_c______, (0.945,16.11)))
sram_8b_16_1rw_tsmc65n_d.add(gdstk.Reference(c_sram_8b_16_1rw_tsmc65n_c____, (4.055,-0.085)))
sram_8b_16_1rw_tsmc65n_d.add(gdstk.Reference(c_sram_8b_16_1rw_tsmc65n_c_____, (4.05,-0.09)))
sram_8b_16_1rw_tsmc65n_d.add(gdstk.Reference(c_sram_8b_16_1rw_tsmc65n_c______, (4.05,-0.09)))
sram_8b_16_1rw_tsmc65n_d.add(gdstk.Reference(c_sram_8b_16_1rw_tsmc65n_c____, (4.055,3.515)))
sram_8b_16_1rw_tsmc65n_d.add(gdstk.Reference(c_sram_8b_16_1rw_tsmc65n_c_____, (4.05,3.51)))
sram_8b_16_1rw_tsmc65n_d.add(gdstk.Reference(c_sram_8b_16_1rw_tsmc65n_c______, (4.05,3.51)))
sram_8b_16_1rw_tsmc65n_d.add(gdstk.Reference(c_sram_8b_16_1rw_tsmc65n_c____, (4.055,3.515)))
sram_8b_16_1rw_tsmc65n_d.add(gdstk.Reference(c_sram_8b_16_1rw_tsmc65n_c_____, (4.05,3.51)))
sram_8b_16_1rw_tsmc65n_d.add(gdstk.Reference(c_sram_8b_16_1rw_tsmc65n_c______, (4.05,3.51)))
sram_8b_16_1rw_tsmc65n_d.add(gdstk.Reference(c_sram_8b_16_1rw_tsmc65n_c____, (4.055,7.115)))
sram_8b_16_1rw_tsmc65n_d.add(gdstk.Reference(c_sram_8b_16_1rw_tsmc65n_c_____, (4.05,7.11)))
sram_8b_16_1rw_tsmc65n_d.add(gdstk.Reference(c_sram_8b_16_1rw_tsmc65n_c______, (4.05,7.11)))
sram_8b_16_1rw_tsmc65n_d.add(gdstk.Reference(c_sram_8b_16_1rw_tsmc65n_c____, (4.055,7.115)))
sram_8b_16_1rw_tsmc65n_d.add(gdstk.Reference(c_sram_8b_16_1rw_tsmc65n_c_____, (4.05,7.11)))
sram_8b_16_1rw_tsmc65n_d.add(gdstk.Reference(c_sram_8b_16_1rw_tsmc65n_c______, (4.05,7.11)))
sram_8b_16_1rw_tsmc65n_d.add(gdstk.Reference(c_sram_8b_16_1rw_tsmc65n_c____, (4.055,10.715)))
sram_8b_16_1rw_tsmc65n_d.add(gdstk.Reference(c_sram_8b_16_1rw_tsmc65n_c_____, (4.05,10.71)))
sram_8b_16_1rw_tsmc65n_d.add(gdstk.Reference(c_sram_8b_16_1rw_tsmc65n_c______, (4.05,10.71)))
sram_8b_16_1rw_tsmc65n_d.add(gdstk.Reference(c_sram_8b_16_1rw_tsmc65n_c____, (4.055,10.715)))
sram_8b_16_1rw_tsmc65n_d.add(gdstk.Reference(c_sram_8b_16_1rw_tsmc65n_c_____, (4.05,10.71)))
sram_8b_16_1rw_tsmc65n_d.add(gdstk.Reference(c_sram_8b_16_1rw_tsmc65n_c______, (4.05,10.71)))
sram_8b_16_1rw_tsmc65n_d.add(gdstk.Reference(c_sram_8b_16_1rw_tsmc65n_c____, (4.055,14.315)))
sram_8b_16_1rw_tsmc65n_d.add(gdstk.Reference(c_sram_8b_16_1rw_tsmc65n_c_____, (4.05,14.31)))
sram_8b_16_1rw_tsmc65n_d.add(gdstk.Reference(c_sram_8b_16_1rw_tsmc65n_c______, (4.05,14.31)))
sram_8b_16_1rw_tsmc65n_d.add(gdstk.Reference(c_sram_8b_16_1rw_tsmc65n_c____, (4.055,14.315)))
sram_8b_16_1rw_tsmc65n_d.add(gdstk.Reference(c_sram_8b_16_1rw_tsmc65n_c_____, (4.05,14.31)))
sram_8b_16_1rw_tsmc65n_d.add(gdstk.Reference(c_sram_8b_16_1rw_tsmc65n_c______, (4.05,14.31)))
sram_8b_16_1rw_tsmc65n_d.add(gdstk.Reference(c_sram_8b_16_1rw_tsmc65n_c____, (-0.07,0.795)))
sram_8b_16_1rw_tsmc65n_d.add(gdstk.Label('vdd', (1.035,8.123), layer=34, texttype=0))
sram_8b_16_1rw_tsmc65n_d.add(gdstk.Label('gnd', (4.14,8.077), layer=34, texttype=0))
sram_8b_16_1rw_tsmc65n_d.add(gdstk.Label('in', (0.015,0.88), layer=32, texttype=0))
sram_8b_16_1rw_tsmc65n_d.add(gdstk.Label('out', (4.415,15.28), layer=31, texttype=0))

lib.write_gds('sram_8b_16_1rw_tsmc65N_delay_chain.gds')
